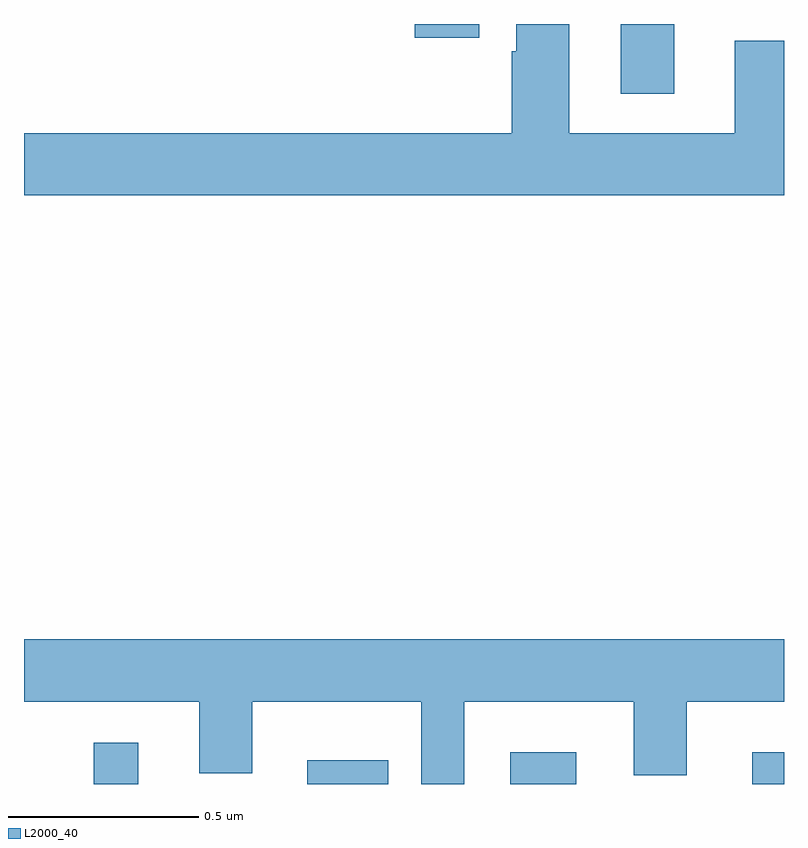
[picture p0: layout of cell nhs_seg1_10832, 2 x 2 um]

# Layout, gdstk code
import gdstk
lib = gdstk.Library(unit=1e-6, precision=1e-09)
def R(c, l, rs):  # rectangles x0, y0, x1, y1
    for r in rs: c.add(gdstk.rectangle(r[:2], r[2:], *l))
def P(c, l, *ps):  # polygons
    for p in ps: c.add(gdstk.Polygon(p, *l))
L2000_40 = (2000, 40)

nhs_seg1_10832 = lib.new_cell('nhs_seg1_10832')
R(nhs_seg1_10832, L2000_40, [(246.184,534.199,246.3,534.307), (246.746,534.199,246.958,534.262), (247.28,534.199,247.453,534.283), (247.917,534.199,248,534.283), (247.571,536.016,247.711,536.199), (247.028,536.163,247.198,536.199)])
P(nhs_seg1_10832, L2000_40, [(248,536.155),(247.871,536.155),(247.871,535.912),(247.435,535.912),(247.435,536.199),(247.295,536.199),(247.295,536.127),(247.283,536.127),(247.283,535.912),(246,535.912),(246,535.748),(248,535.748)],
  [(247.159,534.416),(247.604,534.416),(247.604,534.222),(247.744,534.222),(247.744,534.416),(248,534.416),(248,534.58),(246,534.58),(246,534.416),(246.461,534.416),(246.461,534.227),(246.601,534.227),(246.601,534.416),(247.046,534.416),(247.046,534.199),(247.159,534.199)])

lib.write_gds('nhs_seg1_10832.gds')
